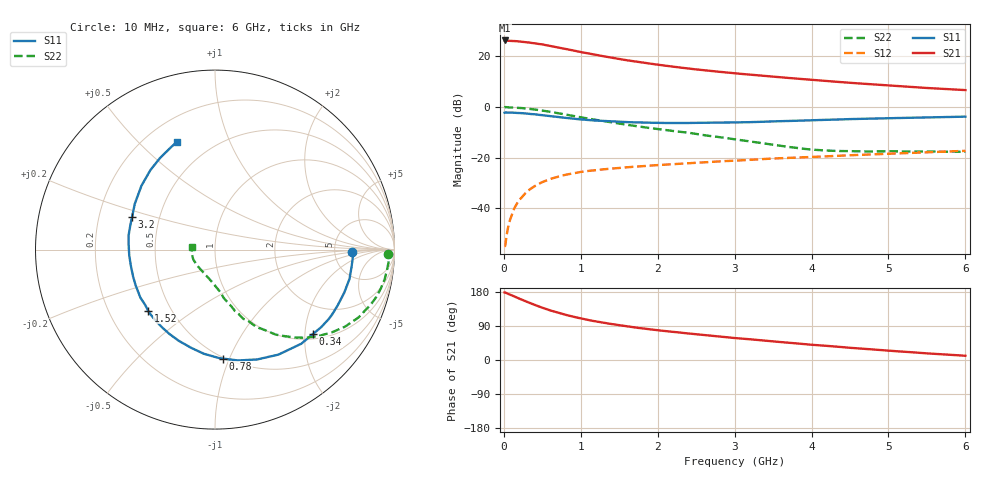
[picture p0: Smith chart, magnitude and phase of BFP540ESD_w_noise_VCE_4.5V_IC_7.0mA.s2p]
! Infineon Technologies  Discrete & RF Semiconductors
! BFP540ESD
! VCE =  4.5 V,  IC =  7.0 mA
! Common Emitter S-Parameters:  Nov 2015
# GHz  S  MA  R  50
!  f  S11  S21  S12  S22
! GHz  MAG  ANG  MAG  ANG  MAG  ANG  MAG  ANG
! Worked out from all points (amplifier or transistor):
!   210 points, 10 MHz to 6 GHz, reference 50 ohm
!   highest |S21| = 26.1 dB at 10 MHz (marker M1)
!   |S21| within 3 dB of that: start of sweep to 746.2 MHz
!   unconditionally stable (mu >= 1): start of sweep to 11.04 MHz; 2.999 GHz to end of sweep
!   at 185 MHz: K = 0.17, MSG = 31.6 dB, |S12| = -37.5 dB
!   at 1.52 GHz: K = 0.61, MSG = 21.4 dB, |S12| = -24.1 dB
!   at 6 GHz: K = 1.18, MAG = 9.4 dB, |S12| = -17.4 dB
!   lowest NFmin = 0.76 dB at 900 MHz
!   S11 on the Smith chart (normalised r, x): 10 MHz: 7.36, -0.42; 340 MHz: 1.13, -2.21; 780 MHz: 0.49, -0.95; 1.52 GHz: 0.37, -0.34; 3.2 GHz: 0.35, +0.17; 6 GHz: 0.32, +0.66
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0.01  0.7614 -0.9  20.15 178.3  0.0018 36.6  0.9614 -1.3
0.02  0.7697 -2.7  20.07 177.9  0.0019 50.6  0.9856 -1.4
0.065  0.7666 -7.9  19.83 173.8  0.0049 68.9  0.9695 -4.2
0.15  0.759 -18.4  19.59 166.5  0.011 74.8  0.9598 -9.9
0.22  0.7478 -26.7  19.13 160.3  0.0157 73.7  0.9441 -14.4
0.34  0.7207 -40.6  18.21 150.5  0.0237 69.6  0.9049 -21.7
0.4  0.7114 -47.5  17.72 145.5  0.0273 67.1  0.8845 -25.3
0.5  0.6835 -58.9  16.83 137.9  0.0328 63.1  0.8409 -30.8
0.6  0.6556 -69.0  15.73 131.0  0.0376 59.9  0.7942 -35.7
0.78  0.6084 -85.9  13.93 120.5  0.045 54.1  0.7114 -43.5
0.9  0.5835 -96.2  12.8 114.2  0.0487 52.0  0.66 -47.9
1.02  0.5589 -105.3  11.76 108.9  0.0526 49.1  0.6125 -51.7
1.2  0.534 -118.6  10.43 101.5  0.0564 45.8  0.5503 -56.6
1.52  0.5046 -137.6  8.593 91.2  0.0626 41.8  0.4599 -63.6
1.7  0.4946 -147.1  7.8 85.9  0.0657 40.5  0.4186 -67.6
2.02  0.4805 -161.6  6.662 78.0  0.0713 38.4  0.3614 -71.9
2.58  0.4818 177.3  5.264 66.2  0.0803 35.6  0.2781 -79.4
3.1  0.4933 161.1  4.413 56.4  0.0884 33.4  0.2176 -86.4
3.2  0.4969 158.3  4.279 54.7  0.0902 32.9  0.2073 -88.5
4.1  0.547 136.9  3.292 38.8  0.1039 28.2  0.1398 -120.4
5.1  0.5981 119.8  2.566 23.2  0.12 22.7  0.132 -158.3
6  0.6377 109.2  2.125 11.1  0.1354 18.5  0.1302 174.6
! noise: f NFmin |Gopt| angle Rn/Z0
0.9  0.76  0.01  -71  0.11
1.8  0.97  0.09  177  0.11
2.4  0.98  0.11  174  0.1
3  1.11  0.19  -171  0.09
4  1.26  0.31  -120  0.15
5  1.48  0.43  -96  0.28
6  1.73  0.52  -98  0.43
